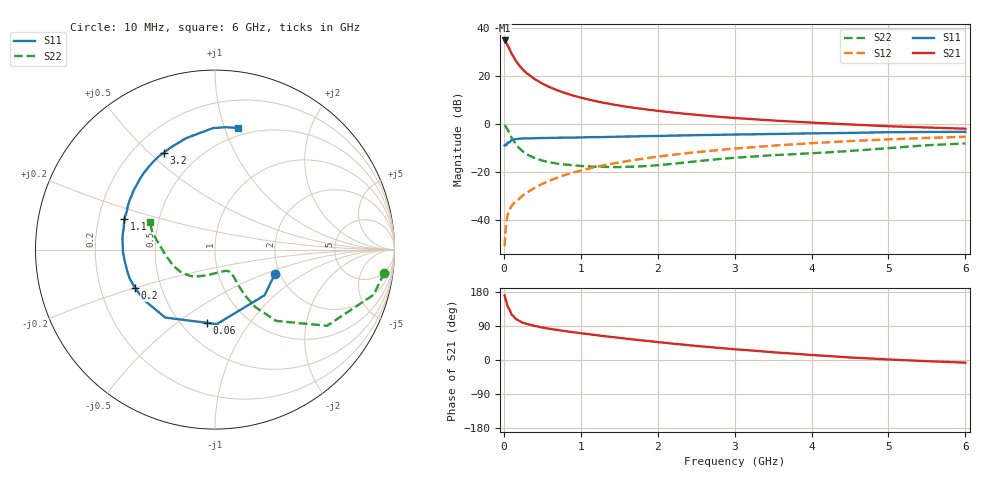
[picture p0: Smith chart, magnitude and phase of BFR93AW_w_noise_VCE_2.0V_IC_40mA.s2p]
! (c) 2017  Infineon Technologies AG, Munich
! Infineon Technologies  Discrete & RF Semiconductors
! BFR93AW
! VCE =  2.0 V,  IC =  40 mA
! Common Emitter S-Parameters:  Jan 2017
# GHz  S  MA  R  50
!  f  S11  S21  S12  S22
! GHz  MAG  ANG  MAG  ANG  MAG  ANG  MAG  ANG
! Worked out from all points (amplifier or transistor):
!   77 points, 10 MHz to 6 GHz, reference 50 ohm
!   highest |S21| = 34.7 dB at 10 MHz (marker M1)
!   |S21| within 3 dB of that: start of sweep to 64.92 MHz
!   unconditionally stable (mu >= 1): 414.5 MHz to 2.2 GHz
!   at 130 MHz: K = 0.63, MSG = 30.3 dB, |S12| = -32.9 dB
!   at 2.2 GHz: K = 1.00, MSG = 8.8 dB, |S12| = -12.8 dB
!   at 6 GHz: K = 0.92, MSG = 1.7 dB, |S12| = -5.3 dB
!   lowest NFmin = 2.04 dB at 450 MHz
!   S11 on the Smith chart (normalised r, x): 10 MHz: 1.88, -0.59; 60 MHz: 0.66, -0.65; 200 MHz: 0.35, -0.20; 1.1 GHz: 0.31, +0.15; 3.2 GHz: 0.32, +0.55; 6 GHz: 0.43, +1.11
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0.01  0.3604 -22.1  54.5 170.7  0.0029 84.7  0.9518 -7.8
0.02  0.3755 -42.6  53.2 162.0  0.0057 75.4  0.9184 -15.9
0.05  0.4152 -88.6  43.16 140.4  0.0132 64.7  0.7555 -34.2
0.06  0.4105 -96.6  40.07 137.5  0.0145 63.4  0.7061 -36.4
0.1  0.4696 -126.3  29.27 120.1  0.0196 59.8  0.5242 -49.3
0.15  0.4842 -144.3  21.24 109.6  0.0246 58.5  0.3906 -55.0
0.2  0.4946 -154.4  16.46 103.1  0.028 62.6  0.315 -56.6
0.25  0.5019 -161.3  13.41 98.3  0.0331 63.4  0.267 -56.9
0.3  0.5033 -166.4  11.28 95.1  0.0374 65.7  0.2342 -56.8
0.4  0.5077 -173.4  8.591 89.8  0.047 68.4  0.1959 -55.8
0.5  0.5127 -178.5  6.91 85.7  0.057 69.9  0.1741 -55.4
0.6  0.5149 177.0  5.802 82.2  0.0671 70.5  0.1599 -55.5
0.7  0.5188 173.4  4.99 79.2  0.0771 71.5  0.1502 -55.9
0.9  0.5223 166.9  3.905 73.4  0.0982 70.7  0.1392 -59.4
1.1  0.5322 161.4  3.236 68.2  0.1183 70.3  0.1322 -64.2
1.5  0.5461 151.8  2.42 58.5  0.1589 67.4  0.1274 -78.4
2.1  0.5696 138.7  1.805 45.3  0.22 62.2  0.1442 -104.0
3.1  0.6079 119.8  1.303 26.9  0.3173 51.9  0.204 -135.1
3.2  0.6104 118.0  1.272 25.4  0.3266 50.8  0.2088 -137.7
4.1  0.6427 103.3  1.053 12.0  0.4084 40.9  0.2525 -161.5
5.1  0.6781 89.7  0.889 0.5  0.4862 29.6  0.3246 171.7
6  0.689 79.5  0.799 -7.0  0.5436 19.5  0.3955 157.0
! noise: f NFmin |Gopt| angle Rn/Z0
0.45  2.04  0.23  -180  0.16
0.9  2.33  0.29  -170  0.17
1.9  3.4  0.52  -133  0.35
2.4  4.1  0.57  -123  0.66
